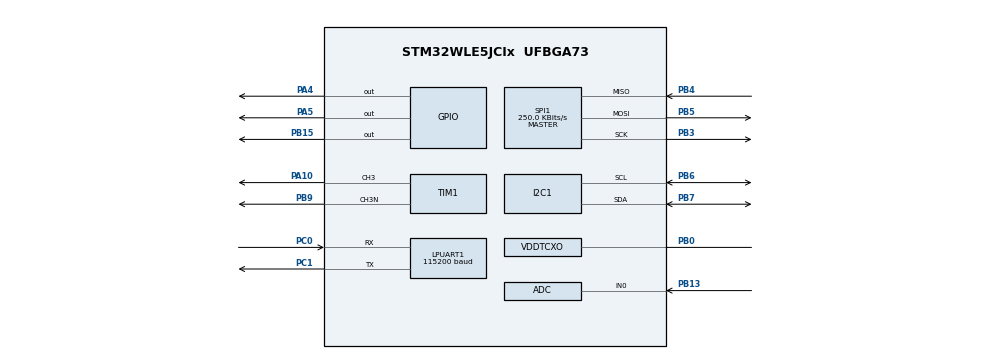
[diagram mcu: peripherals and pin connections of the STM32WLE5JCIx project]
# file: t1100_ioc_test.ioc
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ADC.NbrOfConversion=1
ADC.SelectedChannel=ADC_CHANNEL_0
I2C1.Timing=0x00B07CB4
LPUART1.BaudRate=115200
Mcu.Family=STM32WL
Mcu.Name=STM32WLE5JCIx
Mcu.Package=UFBGA73
NVIC.PriorityGroup=NVIC_PRIORITYGROUP_4
NVIC.SUBGHZ_Radio_IRQn=true\:0\:0\:false\:false\:true\:true\:true\:true
OSC_IN.Mode=HSE-TCXO
OSC_IN.Signal=RCC_OSC_IN
PA10.Signal=S_TIM1_CH3
PA4.Signal=GPIO_Output
PA5.Signal=GPIO_Output
PB0-VDD_TCXO.Mode=HSE-TCXO
PB0-VDD_TCXO.Signal=VDDTCXO
PB13.Mode=IN0
PB13.Signal=ADC_IN0
PB15.Signal=GPIO_Output
PB3.Mode=Full_Duplex_Master
PB3.Signal=SPI1_SCK
PB4.Mode=Full_Duplex_Master
PB4.Signal=SPI1_MISO
PB5.Mode=Full_Duplex_Master
PB5.Signal=SPI1_MOSI
PB6.Mode=I2C
PB6.Signal=I2C1_SCL
PB7.Mode=I2C
PB7.Signal=I2C1_SDA
PB9.Mode=PWM Generation3 CH3 CH3N
PB9.Signal=TIM1_CH3N
PC0.Mode=Asynchronous
PC0.Signal=LPUART1_RX
PC1.Mode=Asynchronous
PC1.Signal=LPUART1_TX
PC14-OSC32_IN.Mode=LSE-External-Oscillator
PC14-OSC32_IN.Signal=RCC_OSC32_IN
PC15-OSC32_OUT.Mode=LSE-External-Oscillator
PC15-OSC32_OUT.Signal=RCC_OSC32_OUT
ProjectManager.HeapSize=0x200
ProjectManager.StackSize=0x400
ProjectManager.TargetToolchain=STM32CubeIDE
RCC.AHBFreq_Value=32000000
RCC.APB1Freq_Value=32000000
RCC.APB1TimFreq_Value=32000000
RCC.APB2Freq_Value=32000000
RCC.APB2TimFreq_Value=32000000
RCC.APB3Freq_Value=32000000
RCC.CortexFreq_Value=32000000
RCC.HCLKFreq_Value=32000000
RCC.HSE_VALUE=8000000
RCC.HSI_VALUE=16000000
RCC.LSE_VALUE=32768
RCC.MSIClockRange=RCC_MSIRANGE_10
RCC.SYSCLKFreq_VALUE=32000000
RCC.VCOOutputFreq_Value=256000000
SH.S_TIM1_CH3.0=TIM1_CH3,PWM Generation3 CH3 CH3N
SPI1.BaudRatePrescaler=SPI_BAUDRATEPRESCALER_128
SPI1.CalculateBaudRate=250.0 KBits/s
SPI1.DataSize=SPI_DATASIZE_8BIT
SPI1.Direction=SPI_DIRECTION_2LINES
SPI1.Mode=SPI_MODE_MASTER
SPI1.VirtualType=VM_MASTER
SUBGHZ.BaudratePrescaler=SUBGHZSPI_BAUDRATEPRESCALER_8
TIM1.Channel-PWM\ Generation3\ CH3\ CH3N=TIM_CHANNEL_3
VP_FATFS_VS_Generic.Mode=User_defined
VP_LPTIM1_VS_LPTIM_counterModeInternalClock.Mode=Counts__internal_clock_event_00
VP_SUBGHZ_VS_SUBGHZ.Mode=SUBGHZ_Activate
board=custom

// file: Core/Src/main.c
/* USER CODE BEGIN Header */
/**
 ******************************************************************************
 * @file           : main.c
 * @brief          : Main program body
 ******************************************************************************
 * @attention
 *
 * Copyright (c) 2025 STMicroelectronics.
 * All rights reserved.
 *
 * This software is licensed under terms that can be found in the LICENSE file
 * in the root directory of this software component.
 * If no LICENSE file comes with this software, it is provided AS-IS.
 *
 ******************************************************************************
 */
/* USER CODE END Header */
#include "main.h"
#include "adc.h"
#include "app_fatfs.h"
#include "i2c.h"
#include "lptim.h"
#include "usart.h"
#include "spi.h"
#include "tim.h"
#include "gpio.h"

/* USER CODE BEGIN Includes */

#include <math.h>
#include <stdarg.h>
#include <stdio.h>
#include <string.h>

#include "MS5607.h"
#include "PID.h"
#include "stm32_helper.h"
#include "sx1262.h"
#include "t1100_helper.h"
#include "IIRFirstOrder.h"

#include "subghz.h"

/* USER CODE END Includes */

/* USER CODE BEGIN PM */

#define RF_FREQUENCY                                915000000 /* Hz */
#define TX_OUTPUT_POWER                             0        /* dBm */
#define LORA_BANDWIDTH                              0         /* Hz */
#define LORA_SPREADING_FACTOR                       7
#define LORA_CODINGRATE                             1
#define LORA_PREAMBLE_LENGTH                        8         /* Same for Tx and Rx */
#define LORA_SYMBOL_TIMEOUT                         5         /* Symbols */

#define RADIO_MODE_STANDBY_RC 0x02
#define RADIO_MODE_STANDBY_XOSC 0x03
#define RADIO_MODE_TX 0x06
#define RADIO_COMMAND_TX_DONE 0x06

#define RADIO_MODE_BITFIELD 0x70
#define RADIO_STATUS_BITFIELD 0x0E

/* USER CODE END PM */

/* USER CODE BEGIN PV */

uint8_t RadioCmd[3] = { 0x00, 0x00, 0x00 };
uint8_t RadioErr[3] = { 0x00, 0x00, 0x00 };
uint8_t RadioTCXO[4] = { 0x01, 0x01, 0x02, 0x80 };
uint8_t RadioTxParams[2] = { 0x16, 0x04 };
uint8_t RadioResult = 0x00;
uint8_t RadioParam = 0x00;
uint8_t RadioMode = 0x00;
uint8_t RadioStatus = 0x00;
uint8_t RadioPAconfig[4] = { 0x04, 0x07, 0x00, 0x01 };
uint8_t RadioBaseAddr[2] = { 0x00, 0x7F };
uint8_t RadioModParams[4] = { 0x0A, 0x04, 0x04, 0x00 };
uint8_t RadioPacketParams[6] = { 0x00, 0x0F, 0x00, 0x64, 0x01, 0x00 };

uint8_t tx_buf[] = "terminator alive!";

#define LOG_FLAG (0x01 << 0)
#define CUT_FLAG (0x01 << 1)
#define GEO_FLAG (0x01 << 2)

#define INT_TIM_EN_FLAG                                                        \
  (0x01 << 3) // if this flag is set, T1xxx will attempt to terminate after
// 2*cut_int_timer minutes

#define GEO_EN_FLAG                                                            \
  (0x01 << 4) // if this flag is set, T1xxx will attempt to terminate when it
// detects exit from the set geofence

#define DESC_FLAG (0x01 << 5) // indicates descent detected
#define HEAT_FLAG (0x01 << 6) // indicates descent detected

// Termination Logic parameters
#define ROUTINE_INTERVAL                                                       \
  30 // interval in number of seconds that the regular routine should run at
uint32_t int_count_30 = 0;   // 30 second interval counter as counted by LPTIM1
uint32_t cut_counter = 0;    // counts number of cut attempts
uint32_t cut_int_timer = 60; // number of minutes until cut

static uint32_t flags =
INT_TIM_EN_FLAG | GEO_EN_FLAG; // flags used for a variety of purposes

sx1262_t radio = { SPI1, (gpio_t ) { GPIOB, LL_GPIO_PIN_0 }, { 0, 0 } };
log_item_t log_item;

static char log_buf[100] = { 0 };

IIRFirstOrder iir;

/* USER CODE END PV */

void SystemClock_Config(void);
/* USER CODE BEGIN PFP */

void setup_radio(void);
void set_rf_switch_rx(void);
void set_rf_switch_tx(void);
void radio_tx(uint8_t *buf, uint16_t bytes);

/* USER CODE END PFP */

int main(void) {

	/* MCU Configuration--------------------------------------------------------*/

	/* Reset of all peripherals, Initializes the Flash interface and the Systick. */
	HAL_Init();

	/* Configure the system clock */
	SystemClock_Config();

	/* Initialize all configured peripherals */
	MX_GPIO_Init();
	MX_SPI1_Init();
	MX_FATFS_Init();
	MX_I2C1_Init();
	MX_LPTIM1_Init();
	MX_ADC_Init();
	MX_TIM1_Init();
	MX_LPUART1_UART_Init();
	/* USER CODE BEGIN 2 */

	setup_radio();

	set_heater_params(T_HIGH, T_LOW);

	log_init();

	ms5607_init(I2C1); // init pressure, temperature, and relative humidity sensor

	IIRFirstOrder_Init(&iir, 980);

	/* USER CODE END 2 */

	/* Infinite loop */
	/* USER CODE BEGIN WHILE */

	LL_LPUART_EnableDirectionTx(LPUART1);

	while (1) {

		LL_LPUART_TransmitData8(LPUART1, 'm');

		log_item.log_count++;

		ms5607_get_press_temp(&log_item.pressure, &log_item.temperature);

		log_item.board_temp = read_heater_temp();

		if (get_gps_data() == -1)
			log_timeout();

		log_system_data();

		log_item.ascent_rate = log_item.altitude - log_item.prev_altitude;
		log_item.prev_altitude = log_item.altitude;
		log_item.filtered_ascent_rate = IIRFirstOrder_Update(&iir,
				log_item.ascent_rate);

		if (log_item.log_count % 30 == 0)
			radio_tx(tx_buf, sizeof(tx_buf));

		HAL_Delay(1000);

		/* USER CODE END WHILE */

	}
}

void SystemClock_Config(void) {
	LL_FLASH_SetLatency(LL_FLASH_LATENCY_1);
	while (LL_FLASH_GetLatency() != LL_FLASH_LATENCY_1) {
	}

	LL_PWR_SetRegulVoltageScaling(LL_PWR_REGU_VOLTAGE_SCALE1);
	LL_RCC_MSI_Enable();

	/* Wait till MSI is ready */
	while (LL_RCC_MSI_IsReady() != 1) {
	}

	LL_RCC_MSI_EnableRangeSelection();
	LL_RCC_MSI_SetRange(LL_RCC_MSIRANGE_10);
	LL_RCC_MSI_SetCalibTrimming(0);
	LL_PWR_EnableBkUpAccess();
	LL_RCC_LSE_SetDriveCapability(LL_RCC_LSEDRIVE_LOW);
	LL_RCC_LSE_EnablePropagation();
	LL_RCC_LSE_Enable();

	/* Wait till LSE is ready */
	while (LL_RCC_LSE_IsReady() != 1) {
	}

	LL_RCC_MSI_EnablePLLMode();
	LL_RCC_SetSysClkSource(LL_RCC_SYS_CLKSOURCE_MSI);

	/* Wait till System clock is ready */
	while (LL_RCC_GetSysClkSource() != LL_RCC_SYS_CLKSOURCE_STATUS_MSI) {
	}

	LL_RCC_SetAHBPrescaler(LL_RCC_SYSCLK_DIV_1);
	LL_RCC_SetAHB3Prescaler(LL_RCC_SYSCLK_DIV_1);
	LL_RCC_SetAPB1Prescaler(LL_RCC_APB1_DIV_1);
	LL_RCC_SetAPB2Prescaler(LL_RCC_APB2_DIV_1);
	/* Update CMSIS variable (which can be updated also through SystemCoreClockUpdate function) */
	LL_SetSystemCoreClock(32000000);

	/* Update the time base */
	if (HAL_InitTick(TICK_INT_PRIORITY) != HAL_OK) {
		Error_Handler();
	}
}

/* USER CODE BEGIN 4 */

void setup_radio(void) {

	MX_SUBGHZ_Init();

	//set standby

	if (HAL_SUBGHZ_ExecSetCmd(&hsubghz, RADIO_SET_SLEEP, &RadioParam, 1)
			!= HAL_OK) {
		Error_Handler();
	}

	RadioParam = 0x00;
	if (HAL_SUBGHZ_ExecSetCmd(&hsubghz, RADIO_SET_STANDBY, &RadioParam, 1)
			!= HAL_OK) {
		Error_Handler();
	}
	RadioParam = 0x00;

	// set tcxo
	if (HAL_SUBGHZ_ExecSetCmd(&hsubghz, RADIO_SET_TCXOMODE, RadioTCXO, 4)
			!= HAL_OK) {
		Error_Handler();
	}

	RadioParam = 0x01;
	if (HAL_SUBGHZ_ExecSetCmd(&hsubghz, RADIO_SET_STANDBY, &RadioParam, 1)
			!= HAL_OK) {
		//Error_Handler();
		hsubghz.ErrorCode = 0;

		while (LL_PWR_IsActiveFlag_RFBUSYS() & LL_PWR_IsActiveFlag_RFBUSYMS())
			;
	}
	RadioParam = 0x00;

	RadioParam = 0x30;
	if (HAL_SUBGHZ_ExecSetCmd(&hsubghz, RADIO_SET_TXFALLBACKMODE, &RadioParam,
			1) != HAL_OK) {
		Error_Handler();
	}
	RadioParam = 0x00;

	/*
	 RadioParam = 0x7F;
	 if (HAL_SUBGHZ_ExecSetCmd(&hsubghz, RADIO_CALIBRATE, &RadioParam, 1)
	 != HAL_OK) {
	 //Error_Handler();
	 hsubghz.ErrorCode = 0;

	 while (LL_PWR_IsActiveFlag_RFBUSYS() & LL_PWR_IsActiveFlag_RFBUSYMS())
	 ;
	 }
	 RadioParam = 0x00;
	 */

	// set packet type
	RadioParam = 0x01;
	if (HAL_SUBGHZ_ExecSetCmd(&hsubghz, RADIO_SET_PACKETTYPE, &RadioParam, 1)
			!= HAL_OK) {
		Error_Handler();
	}
	RadioParam = 0x00;

	HAL_SUBGHZ_ReadRegister(&hsubghz, 0x916, &RadioParam);
	HAL_SUBGHZ_WriteRegister(&hsubghz, 0x916, RadioParam | 0x40);
	RadioParam = 0x00;

	// set rf switch
	set_rf_switch_rx();

	// set reg mode
	RadioParam = 0x01;
	if (HAL_SUBGHZ_ExecSetCmd(&hsubghz, RADIO_SET_REGULATORMODE, &RadioParam, 1)
			!= HAL_OK) {
		Error_Handler();
	}
	RadioParam = 0x00;

	// clear errors
	if (HAL_SUBGHZ_ExecSetCmd(&hsubghz, RADIO_CLR_ERROR, &RadioParam, 1)
			!= HAL_OK) {
		Error_Handler();
	}

	// get errors
	if (HAL_SUBGHZ_ExecGetCmd(&hsubghz, RADIO_GET_STATUS, &RadioResult, 1)
			!= HAL_OK) {
		Error_Handler();
	}

	if (HAL_SUBGHZ_ExecGetCmd(&hsubghz, RADIO_GET_ERROR, RadioErr, 3)
			!= HAL_OK) {
		Error_Handler();
	}

	// set rf freq
	const uint32_t frequency = 915000000;
	uint8_t buf[4];
	uint32_t freq = 0;

	freq = (uint32_t) ((double) frequency / (double) FREQ_STEP );
	buf[0] = (uint8_t) ((freq >> 24) & 0xFF);
	buf[1] = (uint8_t) ((freq >> 16) & 0xFF);
	buf[2] = (uint8_t) ((freq >> 8) & 0xFF);
	buf[3] = (uint8_t) (freq & 0xFF);

	if (HAL_SUBGHZ_ExecSetCmd(&hsubghz, RADIO_SET_RFFREQUENCY, buf, 4)
			!= HAL_OK) {
		Error_Handler();
	}

	// set pa config
	if (HAL_SUBGHZ_ExecSetCmd(&hsubghz, RADIO_SET_PACONFIG, RadioPAconfig, 4)
			!= HAL_OK) {
		Error_Handler();
	}

	// set tx params
	if (HAL_SUBGHZ_ExecSetCmd(&hsubghz, RADIO_SET_TXPARAMS, RadioTxParams, 2)
			!= HAL_OK) {
		Error_Handler();
	}

	// set buffer base address
	if (HAL_SUBGHZ_ExecSetCmd(&hsubghz, RADIO_SET_BUFFERBASEADDRESS,
			RadioBaseAddr, 2) != HAL_OK) {
		Error_Handler();
	}

	// set modulation params
	if (HAL_SUBGHZ_ExecSetCmd(&hsubghz, RADIO_SET_MODULATIONPARAMS,
			RadioModParams, 4) != HAL_OK) {
		Error_Handler();
	}

	// set packet params
	if (HAL_SUBGHZ_ExecSetCmd(&hsubghz, RADIO_SET_PACKETPARAMS,
			RadioPacketParams, 6) != HAL_OK) {
		Error_Handler();
	}

	// set sync word
	//HAL_SUBGHZ_WriteRegister(&hsubghz, 0x0740, 0x34);
	//HAL_SUBGHZ_WriteRegister(&hsubghz, 0x0741, 0x44);

	// set symbol timeout
	RadioParam = 0x00;
	if (HAL_SUBGHZ_ExecSetCmd(&hsubghz, RADIO_SET_LORASYMBTIMEOUT, &RadioParam,
			1) != HAL_OK) {
		Error_Handler();
	}
	RadioParam = 0x00;

	// get errors
	if (HAL_SUBGHZ_ExecGetCmd(&hsubghz, RADIO_GET_STATUS, &RadioResult, 1)
			!= HAL_OK) {
		Error_Handler();
	}

	if (HAL_SUBGHZ_ExecGetCmd(&hsubghz, RADIO_GET_ERROR, RadioErr, 3)
			!= HAL_OK) {
		Error_Handler();
	}
}

void set_rf_switch_rx(void) {
	HAL_GPIO_WritePin(GPIOA, GPIO_PIN_4, GPIO_PIN_SET);
	HAL_GPIO_WritePin(GPIOA, GPIO_PIN_5, GPIO_PIN_RESET);
}

void set_rf_switch_tx(void) {
	HAL_GPIO_WritePin(GPIOA, GPIO_PIN_4, GPIO_PIN_RESET);
	HAL_GPIO_WritePin(GPIOA, GPIO_PIN_5, GPIO_PIN_SET);
}

void radio_tx(uint8_t *buf, uint16_t bytes) {

	HAL_SUBGHZ_WriteBuffer(&hsubghz, 0, buf, bytes);

	set_rf_switch_tx();

	// clear errors
	if (HAL_SUBGHZ_ExecSetCmd(&hsubghz, RADIO_CLR_ERROR, &RadioParam, 1)
			!= HAL_OK) {
		Error_Handler();
	}

	if (HAL_SUBGHZ_ExecSetCmd(&hsubghz, RADIO_SET_TX, RadioCmd, 3) != HAL_OK) {
		//Error_Handler();
	}

	hsubghz.ErrorCode = 0;

	while (LL_PWR_IsActiveFlag_RFBUSYS() & LL_PWR_IsActiveFlag_RFBUSYMS())
		;

	/* Reset RadioResult */
	RadioResult = 0x00;

	// get errors
	if (HAL_SUBGHZ_ExecGetCmd(&hsubghz, RADIO_GET_STATUS, &RadioResult, 1)
			!= HAL_OK) {
		Error_Handler();
	}

	if (HAL_SUBGHZ_ExecGetCmd(&hsubghz, RADIO_GET_ERROR, RadioErr, 3)
			!= HAL_OK) {
		Error_Handler();
	}

	/*
	 RadioMode = ((RadioResult & RADIO_MODE_BITFIELD) >> 4);
	 RadioStatus = ((RadioResult & RADIO_STATUS_BITFIELD) >> 1);

	 if (RadioMode == RADIO_MODE_TX) {
	 do {
	 RadioResult = 0x00;

	 if (HAL_SUBGHZ_ExecGetCmd(&hsubghz, RADIO_GET_STATUS, &RadioResult,
	 1) != HAL_OK) {
	 Error_Handler();
	 }

	 RadioMode = ((RadioResult & RADIO_MODE_BITFIELD) >> 4);
	 RadioStatus = ((RadioResult & RADIO_STATUS_BITFIELD) >> 1);
	 } while (RadioMode != RADIO_MODE_STANDBY_RC
	 && RadioMode != RADIO_MODE_STANDBY_XOSC);
	 } else if (RadioStatus == RADIO_COMMAND_TX_DONE) { // Check if TX is well done  (SUBGHZ Radio already in Standby mode)
	 // nothing
	 } else {
	 //Error_Handler();
	 }

	 set_rf_switch_rx();

	 // clear errors
	 if (HAL_SUBGHZ_ExecSetCmd(&hsubghz, RADIO_CLR_ERROR, &RadioParam, 1)
	 != HAL_OK) {
	 Error_Handler();
	 }

	 if (HAL_SUBGHZ_ExecSetCmd(&hsubghz, RADIO_SET_RX, RadioCmd, 3) != HAL_OK) {
	 //Error_Handler();
	 }

	 hsubghz.ErrorCode = 0;

	 while (LL_PWR_IsActiveFlag_RFBUSYS() & LL_PWR_IsActiveFlag_RFBUSYMS())
	 ;

	 RadioResult = 0x00;

	 // get errors
	 if (HAL_SUBGHZ_ExecGetCmd(&hsubghz, RADIO_GET_STATUS, &RadioResult, 1)
	 != HAL_OK) {
	 Error_Handler();
	 }

	 if (HAL_SUBGHZ_ExecGetCmd(&hsubghz, RADIO_GET_ERROR, RadioErr, 3)
	 != HAL_OK) {
	 Error_Handler();
	 }
	 */

}

/* USER CODE END 4 */

void Error_Handler(void) {
	__disable_irq();
	while (1) {
	}
}
